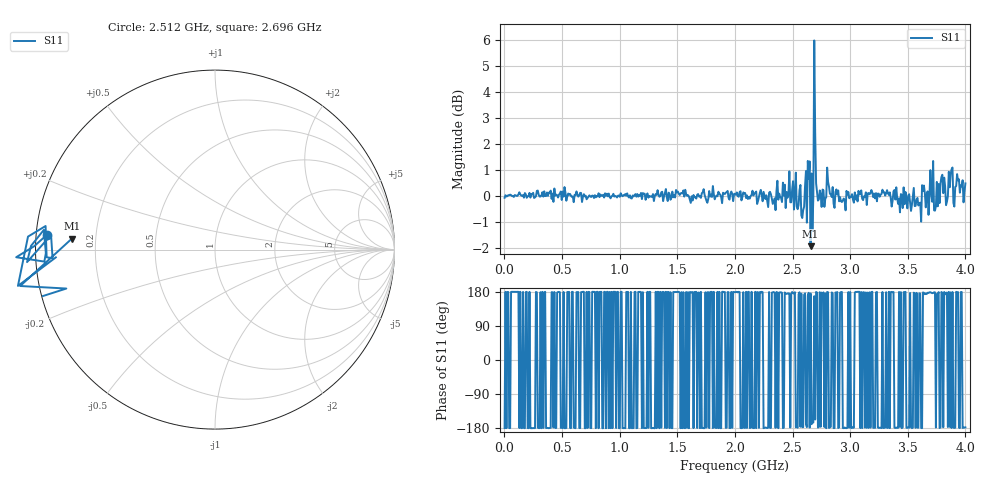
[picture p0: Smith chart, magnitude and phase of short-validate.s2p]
!Created with skrf (http://scikit-rf.org).
# GHz S DB R 50.0
!freq dBS11 angS11
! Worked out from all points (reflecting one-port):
!   501 points, 1 MHz to 4 GHz, reference 50 ohm
!   lowest |S11| = -1.9 dB at 2.656 GHz (marker M1), VSWR 8.99, Z = 5.57 + j1.89 ohm
!   phase of S11 starts at -180 deg and turns +2 deg over the sweep
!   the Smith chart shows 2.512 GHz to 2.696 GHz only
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0.001  -0.08 -179.6
0.504874  0.17 -179.7
1.00075  -0.04 -179.9
1.504624  0.16 179.8
2.0005  0.08 179.2
2.504374  0.56 176.2
2.60035  -0.42 172.1
2.632342  1.35 169.5
2.64034  0.66 177.4
2.656336  -1.94 175.6
2.664334  0.86 -169.4
2.672332  -1.35 -165.3
2.68033  -0.06 -164.9
2.704324  0.48 179.6
2.712322  0.14 178.0
2.72032  -0.18 -178.1
2.736316  0.21 178.9
2.816296  0.36 -179.3
3.00025  -0.04 179.3
3.504124  0.01 -177.5
3.664084  0.05 174.1
3.704074  0.09 177.7
3.744064  -0.40 -178.2
3.80005  0.81 177.2
3.848038  -0.01 -176.9
3.872032  0.84 178.5
3.912022  0.34 -178.4
4  0.48 -177.8
